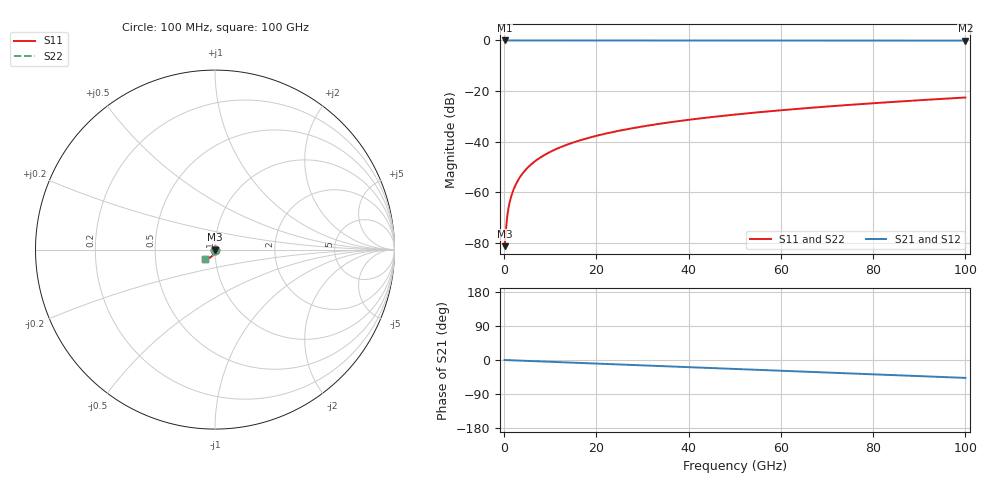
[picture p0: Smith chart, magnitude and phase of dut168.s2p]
! Touchstone file exported from HFSS 2026.1.0
!  File:  C:/ffzhzh/LocalFiles/Ansys_Project_Files/temp_train_TSV_168_1783506899_41296.aedt
!  Generated:  06:36:12 PM Jul  8, 2026
!  Design:  TSV
!  Project:  temp_train_TSV_168_1783506899_41296
! Variables:
!  h_bsmrdl = 2um
!  h_ox = 20um
!  h_rdl = 5um
!  h_sub = 94.97um
!  h_tmrdl = 5um
!  h_tsv = 94.97um
!  h_via = 3um
!  l_bsmrdl = 300um
!  l_sub = 428.94um
!  l_tmrdl = 200um
!  m_sub = 200um
!  pitch = 53.54um
!  r_tsv = 14.47um
!  s_tmrdl = 10um
!  w_bsmrdl = 18um
!  w_sub = 500um
!  w_tmrdl = 12um
!  x_tsv_center1 = 206um
!  x_tsv_center2 = 524um
!  x_tsv_center3 = 736um
!  x_tsv_center4 = 1054um
!  x_tsv_center5 = 1266um
!  x_tsv_center6 = 1584um
# GHz S MA R 50.000000
! Terminal data exported
! Port[1] = TSV1_1_T1
! Port[2] = TSV1_1_T2
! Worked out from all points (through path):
!   1000 points, 100 MHz to 100 GHz, reference 50 ohm
!   highest |S21| = 0.00 dB at 100 MHz (marker M1); lowest = -0.1 dB at 100 GHz (marker M2)
!   group delay of S21, straight-line fit = 1.31 ps
!   lowest |S11| = -81.3 dB at 100 MHz (marker M3), VSWR 1.00, Z = 50 - j0.00173 ohm
!   |S11| at or under -10 dB: start of sweep to end of sweep
!   |S22| runs from -81.3 to -22.5 dB; largest |S21 - S12| = 9.1e-15
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0.1  8.626e-05 -11.6  0.9999 -0.0  0.9999 -0.0  8.626e-05 -11.6
! Gamma 0 0 0 0
! Port Impedance 50 0 50 0
0.4  0.0001911 -37.4  0.9998 -0.2  0.9998 -0.2  0.0001911 -37.4
0.8  0.0004047 -55.4  0.9998 -0.4  0.9998 -0.4  0.0004047 -55.4
1  0.0005186 -60.5  0.9997 -0.5  0.9997 -0.5  0.0005186 -60.5
1.3  0.0006922 -65.6  0.9997 -0.6  0.9997 -0.6  0.0006922 -65.6
1.6  0.0008684 -69.0  0.9997 -0.8  0.9997 -0.8  0.0008684 -69.0
2.1  0.001168 -72.8  0.9996 -1.0  0.9996 -1.0  0.001168 -72.8
2.6  0.001474 -75.2  0.9996 -1.2  0.9996 -1.2  0.001474 -75.2
3.3  0.001912 -77.6  0.9995 -1.6  0.9995 -1.6  0.001912 -77.6
4.1  0.002423 -79.6  0.9995 -1.9  0.9995 -1.9  0.002423 -79.6
5.1  0.003069 -81.6  0.9994 -2.4  0.9994 -2.4  0.003069 -81.6
6.2  0.003785 -83.3  0.9994 -2.9  0.9994 -2.9  0.003785 -83.3
9  0.00563 -86.5  0.9992 -4.3  0.9992 -4.3  0.00563 -86.4
12.5  0.007972 -89.3  0.9991 -5.9  0.9991 -5.9  0.007972 -89.3
16.8  0.01088 -92.4  0.9989 -7.9  0.9989 -7.9  0.01088 -92.4
24.1  0.01588 -96.8  0.9986 -11.3  0.9986 -11.3  0.01588 -96.8
33.4  0.02236 -102.0  0.9982 -15.7  0.9982 -15.7  0.02236 -101.9
41.2  0.02791 -106.1  0.9979 -19.4  0.9979 -19.4  0.02791 -106.0
50.1  0.03438 -110.7  0.9975 -23.6  0.9975 -23.6  0.03438 -110.6
66.7  0.04691 -119.1  0.9967 -31.4  0.9967 -31.4  0.04692 -119.0
83.4  0.06032 -127.4  0.9955 -39.3  0.9955 -39.3  0.06032 -127.4
100  0.07463 -135.8  0.994 -47.2  0.994 -47.2  0.07464 -135.8
